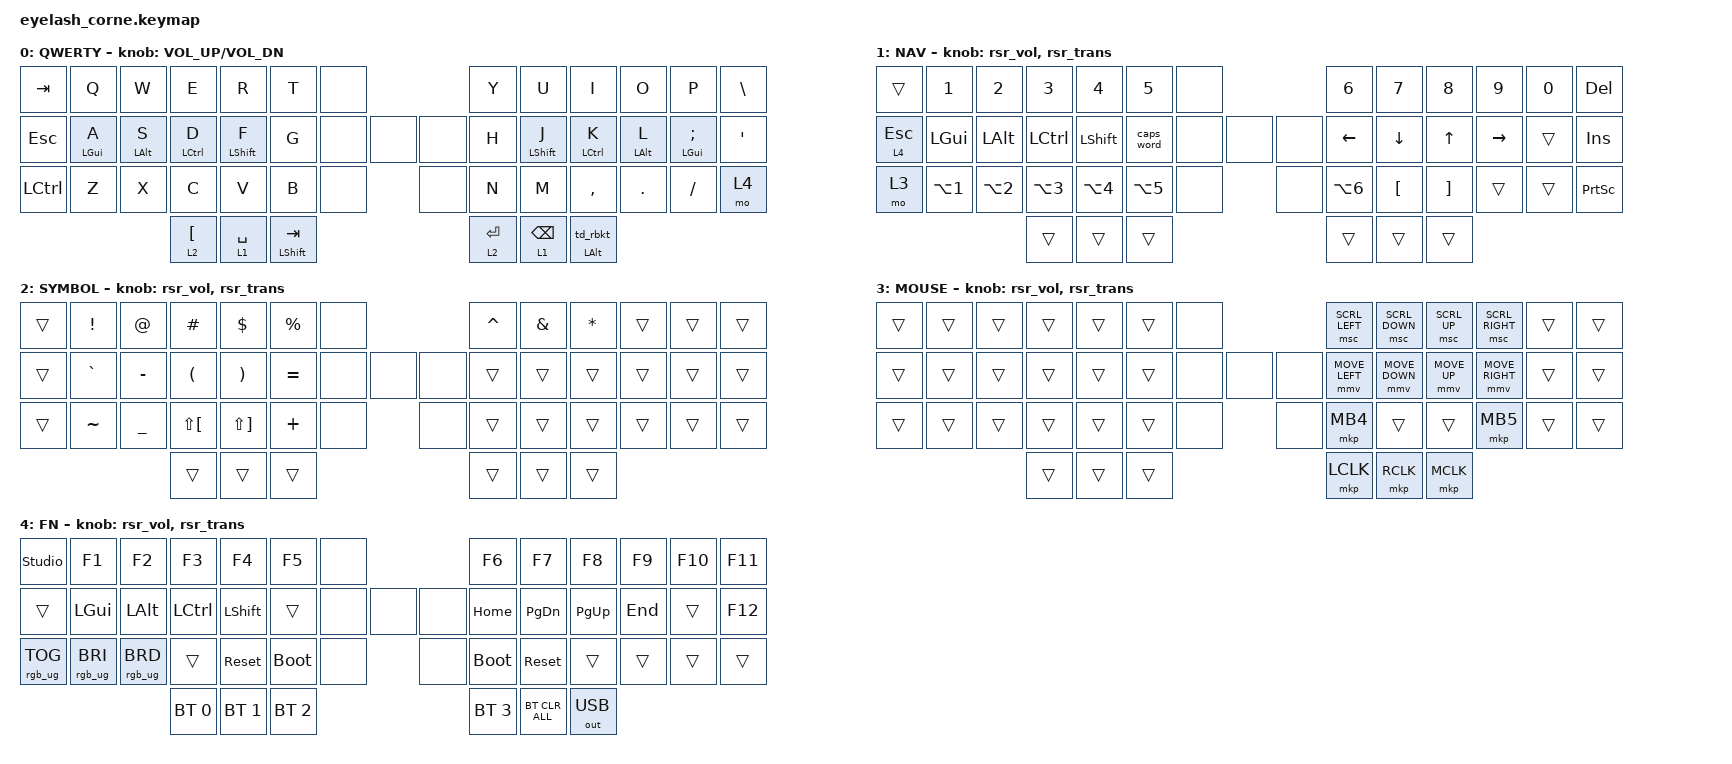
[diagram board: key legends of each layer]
#define ZMK_POINTING_DEFAULT_MOVE_VAL 1200  // 600
#define ZMK_POINTING_DEFAULT_SCRL_VAL 25   // 10

#include <input/processors.dtsi>
#include <zephyr/dt-bindings/input/input-event-codes.h>
#include <behaviors.dtsi>
#include <behaviors/runtime-sensor-rotate.dtsi>
#include <dt-bindings/zmk/bt.h>
#include <dt-bindings/zmk/keys.h>
#include <dt-bindings/zmk/outputs.h>
#include <dt-bindings/zmk/pointing.h>
#include <dt-bindings/zmk/rgb.h>

&soft_off { hold-time-ms = <2000>; };

&lt {
    quick-tap-ms = <175>;
};

&mt {
    quick-tap-ms = <175>;
    flavor = "tap-preferred";
};

// Key position groups for home row mods
#define KEYS_L  0  1  2  3  4  5 13 14 15 16 17 18 28 29 30 31 32 33
#define KEYS_R  7  8  9 10 11 12 22 23 24 25 26 27 36 37 38 39 40 41
#define THUMBS_L 42 43 44
#define THUMBS_R 45 46 47

// Home row mods only hold with the opposite hand (thumbs included)
#define MAKE_HRM(NAME, HOLD, TAP, TRIGGERS) \
    NAME: NAME { \
        compatible = "zmk,behavior-hold-tap"; \
        #binding-cells = <2>; \
        flavor = "balanced"; \
        tapping-term-ms = <280>; \
        quick-tap-ms = <175>; \
        require-prior-idle-ms = <150>; \
        hold-trigger-key-positions = <TRIGGERS>; \
        hold-trigger-on-release; \
        bindings = <HOLD>, <TAP>; \
    };

/ {
    behaviors {
        MAKE_HRM(hml, &kp, &kp, KEYS_R THUMBS_R)
        MAKE_HRM(hmr, &kp, &kp, KEYS_L THUMBS_L)

        // Thumb layer-taps (no hold-trigger positions, so they hold with same-side keys)
        thumb_lt: thumb_lt {
            compatible = "zmk,behavior-hold-tap";
            #binding-cells = <2>;
            flavor = "balanced";
            tapping-term-ms = <200>;
            quick-tap-ms = <175>;
            require-prior-idle-ms = <100>;
            bindings = <&mo>, <&kp>;
        };

        // Shift when held (as soon as another key goes down), Tab when tapped alone
        sft_tab: sft_tab {
            compatible = "zmk,behavior-hold-tap";
            #binding-cells = <2>;
            flavor = "hold-preferred";
            tapping-term-ms = <200>;
            quick-tap-ms = <0>;
            require-prior-idle-ms = <100>;
            bindings = <&kp>, <&kp>;
        };

        // ] on tap, Alt on hold, Ctrl+] on double tap
        td_rbkt: td_rbkt {
            compatible = "zmk,behavior-tap-dance";
            #binding-cells = <0>;
            tapping-term-ms = <250>;
            bindings = <&kp RBKT>, <&kp LC(RBKT)>;
        };

        rbkt_alt: rbkt_alt {
            compatible = "zmk,behavior-hold-tap";
            #binding-cells = <2>;
            flavor = "balanced";
            tapping-term-ms = <250>;
            bindings = <&kp>, <&td_rbkt>;
        };

        rsr_vol: rsr_vol {
            compatible = "zmk,behavior-runtime-sensor-rotate";
            #sensor-binding-cells = <0>;
            tap-ms = <5>;
            cw-binding = <&kp C_VOL_UP>;
            ccw-binding = <&kp C_VOL_DN>;
        };

        rsr_trans: rsr_trans {
            compatible = "zmk,behavior-runtime-sensor-rotate";
            #sensor-binding-cells = <0>;
            tap-ms = <0>;
        };
    };

   combos {
        compatible = "zmk,combos";

        softoff {
            bindings = <&soft_off>;
            key-positions = <1 15 29>;
        };

        nav_home {
            bindings = <&kp HOME>;
            key-positions = <22 23>;
            layers = <1>;
        };

        nav_end {
            bindings = <&kp END>;
            key-positions = <24 25>;
            layers = <1>;
        };


        // Home row combos need a pause before them, so rolls don't trigger them
        grave {
            bindings = <&kp GRAVE>;
            key-positions = <14 15>;
            layers = <0>;
            require-prior-idle-ms = <150>;
        };

        minus {
            bindings = <&kp MINUS>;
            key-positions = <15 16>;
            layers = <0>;
            require-prior-idle-ms = <150>;
        };

        nav_pgdn {
            bindings = <&kp PG_DN>;
            key-positions = <36 37>;
            layers = <1>;
        };

        nav_pgup {
            bindings = <&kp PG_UP>;
            key-positions = <38 39>;
            layers = <1>;
        };
    };

    keymap {
        compatible = "zmk,keymap";

        default_layer {
            display-name = "QWERTY";
            bindings = <
&kp TAB    &kp Q        &kp W        &kp E         &kp R         &kp T    /* */ &none             /* */  &kp Y        &kp U           &kp I         &kp O        &kp P            &kp BSLH
&kp ESC    &hml LGUI A  &hml LALT S  &hml LCTRL D  &hml LSHFT F  &kp G  /* */ &none &none &none /* */  &kp H      &hmr LSHFT J    &hmr LCTRL K  &hmr LALT L  &hmr LGUI SEMI  &kp SQT
&kp LCTRL  &kp Z        &kp X        &kp C         &kp V         &kp B    /* */ &none  &none      /* */  &kp N        &kp M           &kp COMMA     &kp DOT      &kp FSLH         &mo 4
                                     &thumb_lt 2 LBKT    &thumb_lt 1 SPACE   &sft_tab LSHFT TAB                               &thumb_lt 2 ENTER  &thumb_lt 1 BSPC      &rbkt_alt LALT 0
            >;

            sensor-bindings = <&inc_dec_kp C_VOLUME_UP C_VOL_DN>;
        };

        nav_layer {
            display-name = "NAV";
            bindings = <
&trans     &kp N1      &kp N2      &kp N3      &kp N4      &kp N5       /* */ &none             /* */  &kp N6      &kp N7    &kp N8    &kp N9     &kp N0    &kp DEL
&lt 4 ESC  &kp LGUI    &kp LALT    &kp LCTRL   &kp LSHFT   &caps_word   /* */ &none &none &none /* */  &kp LEFT    &kp DOWN  &kp UP    &kp RIGHT  &trans    &kp INS
&mo 3      &kp LA(N1)  &kp LA(N2)  &kp LA(N3)  &kp LA(N4)  &kp LA(N5)   /* */ &none  &none      /* */  &kp LA(N6)  &kp LBKT  &kp RBKT  &trans     &trans    &kp PRINTSCREEN
                                   &trans      &trans      &trans                                      &trans  &trans  &trans
            >;

            sensor-bindings = <&rsr_vol &rsr_trans>;
        };

        symbol_layer {
            display-name = "SYMBOL";
            bindings = <
&trans  &kp EXCL   &kp AT     &kp HASH      &kp DLLR      &kp PRCNT  /* */ &none             /* */  &kp CARET  &kp AMPS   &kp ASTRK  &trans  &trans  &trans
&trans  &kp GRAVE  &kp MINUS  &kp LPAR      &kp RPAR      &kp EQUAL  /* */ &none &none &none /* */  &trans     &trans     &trans     &trans  &trans  &trans
&trans  &kp TILDE  &kp UNDER  &kp LS(LBKT)  &kp LS(RBKT)  &kp PLUS   /* */ &none  &none      /* */  &trans     &trans     &trans     &trans  &trans  &trans
                              &trans        &trans        &trans                                    &trans     &trans     &trans
            >;

            sensor-bindings = <&rsr_vol &rsr_trans>;
        };

        mouse_layer {
            display-name = "MOUSE";
            bindings = <
&trans  &trans  &trans  &trans  &trans  &trans  /* */ &none             /* */  &msc SCRL_LEFT  &msc SCRL_DOWN  &msc SCRL_UP  &msc SCRL_RIGHT  &trans  &trans
&trans  &trans  &trans  &trans  &trans  &trans  /* */ &none &none &none /* */  &mmv MOVE_LEFT  &mmv MOVE_DOWN  &mmv MOVE_UP  &mmv MOVE_RIGHT  &trans  &trans
&trans  &trans  &trans  &trans  &trans  &trans  /* */ &none  &none      /* */  &mkp MB4        &trans          &trans        &mkp MB5         &trans  &trans
                        &trans  &trans  &trans                                 &mkp LCLK       &mkp RCLK       &mkp MCLK
            >;

            sensor-bindings = <&rsr_vol &rsr_trans>;
        };

        fn_layer {
            display-name = "FN";
            bindings = <
&studio_unlock   &kp F1            &kp F2           &kp F3        &kp F4        &kp F5       /* */ &none             /* */  &kp F6        &kp F7          &kp F8       &kp F9   &kp F10     &kp F11
&trans           &kp LGUI          &kp LALT         &kp LCTRL     &kp LSHFT     &trans       /* */ &none &none &none /* */  &kp HOME      &kp PG_DN       &kp PG_UP    &kp END  &trans      &kp F12
&rgb_ug RGB_TOG  &rgb_ug RGB_BRI   &rgb_ug RGB_BRD  &trans        &sys_reset    &bootloader  /* */ &none  &none      /* */  &bootloader   &sys_reset      &trans       &trans   &trans      &trans
                                   &bt BT_SEL 0     &bt BT_SEL 1  &bt BT_SEL 2                                              &bt BT_SEL 3  &bt BT_CLR_ALL  &out OUT_USB
            >;

            sensor-bindings = <&rsr_vol &rsr_trans>;
        };
    };
};
